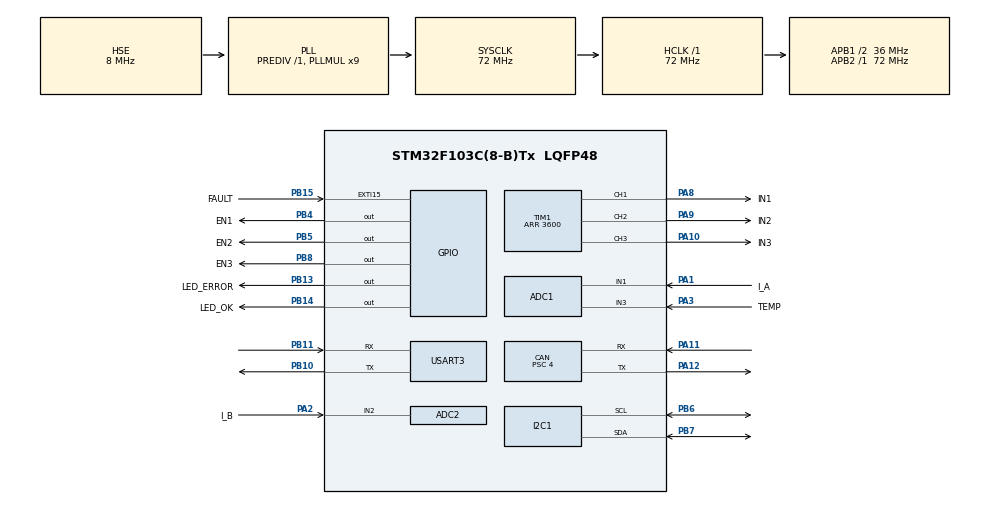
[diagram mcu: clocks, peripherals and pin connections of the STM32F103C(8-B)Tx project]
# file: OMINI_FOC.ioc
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ADC1.Channel-1\#ChannelInjectedConversion=ADC_CHANNEL_1
ADC1.Channel-3\#ChannelRegularConversion=ADC_CHANNEL_1
ADC1.ContinuousConvMode=ENABLE
ADC1.EnableInjectedConversion=ENABLE
ADC1.EnableRegularConversion=ENABLE
ADC1.ExternalTrigInjecConv=ADC_EXTERNALTRIGINJECCONV_T1_TRGO
ADC1.InjNumberOfConversion=1
ADC1.InjectedOffset-1\#ChannelInjectedConversion=0
ADC1.InjectedRank-1\#ChannelInjectedConversion=1
ADC1.Mode=ADC_DUALMODE_INJECSIMULT
ADC1.NbrOfConversionFlag=1
ADC1.Rank-3\#ChannelRegularConversion=1
ADC1.SamplingTime-1\#ChannelInjectedConversion=ADC_SAMPLETIME_55CYCLES_5
ADC1.SamplingTime-3\#ChannelRegularConversion=ADC_SAMPLETIME_55CYCLES_5
ADC1.master=1
ADC2.Channel-1\#ChannelInjectedConversion=ADC_CHANNEL_2
ADC2.Channel-2\#ChannelRegularConversion=ADC_CHANNEL_2
ADC2.ContinuousConvMode=ENABLE
ADC2.EnableInjectedConversion=ENABLE
ADC2.EnableRegularConversion=ENABLE
ADC2.InjNumberOfConversion=1
ADC2.InjectedOffset-1\#ChannelInjectedConversion=0
ADC2.InjectedRank-1\#ChannelInjectedConversion=1
ADC2.Mode=ADC_DUALMODE_INJECSIMULT
ADC2.NbrOfConversionFlag=1
ADC2.Rank-2\#ChannelRegularConversion=1
ADC2.SamplingTime-1\#ChannelInjectedConversion=ADC_SAMPLETIME_55CYCLES_5
ADC2.SamplingTime-2\#ChannelRegularConversion=ADC_SAMPLETIME_55CYCLES_5
CAN.BS1=CAN_BS1_4TQ
CAN.BS2=CAN_BS2_4TQ
CAN.CalculateBaudRate=1000000
CAN.CalculateTimeBit=1000
CAN.CalculateTimeQuantum=111.11111111111111
CAN.Prescaler=4
CAN.SJW=CAN_SJW_1TQ
I2C1.I2C_Mode=I2C_Fast
Mcu.Family=STM32F1
Mcu.Name=STM32F103C(8-B)Tx
Mcu.Package=LQFP48
Mcu.UserConstants=speed_calc_freq,motor_speed_calc_freq
NVIC.ADC1_2_IRQn=true\:0\:0\:true\:false\:true\:true\:true\:true
NVIC.EXTI15_10_IRQn=true\:1\:0\:true\:false\:true\:true\:true\:true
NVIC.I2C1_ER_IRQn=true\:2\:0\:true\:false\:true\:true\:true\:true
NVIC.I2C1_EV_IRQn=true\:2\:0\:true\:false\:true\:true\:true\:true
NVIC.PriorityGroup=NVIC_PRIORITYGROUP_4
NVIC.TIM3_IRQn=true\:1\:0\:true\:false\:true\:true\:true\:true
NVIC.USART3_IRQn=true\:3\:0\:true\:false\:true\:true\:true\:true
NVIC.USB_LP_CAN1_RX0_IRQn=true\:3\:0\:true\:false\:true\:true\:true\:true
PA1.GPIO_Label=I_A
PA1.Signal=ADCx_IN1
PA10.GPIO_Label=IN3
PA10.Signal=S_TIM1_CH3
PA11.Mode=CAN_Activate
PA11.Signal=CAN_RX
PA12.Mode=CAN_Activate
PA12.Signal=CAN_TX
PA13.Mode=Serial_Wire
PA13.Signal=SYS_JTMS-SWDIO
PA14.Mode=Serial_Wire
PA14.Signal=SYS_JTCK-SWCLK
PA2.GPIO_Label=I_B
PA2.Signal=ADCx_IN2
PA3.GPIO_Label=TEMP
PA3.Signal=ADCx_IN3
PA8.GPIO_Label=IN1
PA8.Signal=S_TIM1_CH1
PA9.GPIO_Label=IN2
PA9.Signal=S_TIM1_CH2
PB10.Mode=Asynchronous
PB10.Signal=USART3_TX
PB11.Mode=Asynchronous
PB11.Signal=USART3_RX
PB13.GPIO_Label=LED_ERROR
PB13.PinState=GPIO_PIN_SET
PB13.Signal=GPIO_Output
PB14.GPIO_Label=LED_OK
PB14.PinState=GPIO_PIN_SET
PB14.Signal=GPIO_Output
PB15.GPIO_Label=FAULT
PB15.GPIO_ModeDefaultEXTI=GPIO_MODE_IT_FALLING
PB15.Signal=GPXTI15
PB4.GPIO_Label=EN1
PB4.Signal=GPIO_Output
PB5.GPIO_Label=EN2
PB5.Signal=GPIO_Output
PB6.Mode=I2C
PB6.Signal=I2C1_SCL
PB7.Mode=I2C
PB7.Signal=I2C1_SDA
PB8.GPIO_Label=EN3
PB8.Signal=GPIO_Output
PD0-OSC_IN.Mode=HSE-External-Oscillator
PD0-OSC_IN.Signal=RCC_OSC_IN
PD1-OSC_OUT.Mode=HSE-External-Oscillator
PD1-OSC_OUT.Signal=RCC_OSC_OUT
ProjectManager.HeapSize=0x200
ProjectManager.StackSize=0x400
ProjectManager.TargetToolchain=CMake
RCC.ADCPresc=RCC_ADCPCLK2_DIV6
RCC.AHBFreq_Value=72000000
RCC.APB1CLKDivider=RCC_HCLK_DIV2
RCC.APB1Freq_Value=36000000
RCC.APB1TimFreq_Value=72000000
RCC.APB2Freq_Value=72000000
RCC.APB2TimFreq_Value=72000000
RCC.HCLKFreq_Value=72000000
RCC.PLLMUL=RCC_PLL_MUL9
RCC.PLLSourceVirtual=RCC_PLLSOURCE_HSE
RCC.SYSCLKFreq_VALUE=72000000
RCC.SYSCLKSource=RCC_SYSCLKSOURCE_PLLCLK
RCC.USBFreq_Value=72000000
SH.ADCx_IN1.0=ADC1_IN1,IN1
SH.ADCx_IN2.0=ADC2_IN2,IN2
SH.ADCx_IN3.0=ADC1_IN3,IN3
SH.S_TIM1_CH1.0=TIM1_CH1,PWM Generation1 CH1
SH.S_TIM1_CH2.0=TIM1_CH2,PWM Generation2 CH2
SH.S_TIM1_CH3.0=TIM1_CH3,PWM Generation3 CH3
STMicroelectronics.X-CUBE-ALGOBUILD.1.4.0.LibraryCcDSPOoLibraryJjDSPOoLibrary=true
TIM1.AutoReloadPreload=TIM_AUTORELOAD_PRELOAD_ENABLE
TIM1.BreakPolarity=TIM_BREAKPOLARITY_LOW
TIM1.Channel-PWM\ Generation1\ CH1=TIM_CHANNEL_1
TIM1.Channel-PWM\ Generation2\ CH2=TIM_CHANNEL_2
TIM1.Channel-PWM\ Generation3\ CH3=TIM_CHANNEL_3
TIM1.CounterMode=TIM_COUNTERMODE_CENTERALIGNED3
TIM1.Period=3600
TIM1.RepetitionCounter=4
TIM1.TIM_MasterOutputTrigger=TIM_TRGO_UPDATE
TIM3.Period=1000000/speed_calc_freq
TIM3.Prescaler=72-1
USART3.VirtualMode=VM_ASYNC
VP_STMicroelectronics.X-CUBE-ALGOBUILD_VS_DSPOoLibraryJjLibrary_1.4.0_1.4.0.Mode=DSPOoLibraryJjLibrary
VP_TIM1_VS_ClockSourceINT.Mode=Internal
VP_TIM3_VS_ClockSourceINT.Mode=Internal
board=custom

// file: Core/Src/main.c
/* USER CODE BEGIN Header */
/**
  ******************************************************************************
  * @file           : main.c
  * @brief          : Main program body
  ******************************************************************************
  * @attention
  *
  * Copyright (c) 2026 STMicroelectronics.
  * All rights reserved.
  *
  * This software is licensed under terms that can be found in the LICENSE file
  * in the root directory of this software component.
  * If no LICENSE file comes with this software, it is provided AS-IS.
  *
  ******************************************************************************
  */
/* USER CODE END Header */
#include "main.h"

/* USER CODE BEGIN Includes */
#include <stdio.h>
#include <string.h>
#include "User_AS5600.h"
#include "User_ADC.h"
#include "User_Usart.h"
#include "User_FOC.h"
#include "User_CAN.h"
#include "User_System.h"
#include "motor_runtime_param.h"
#include "foc.h"
#include "global_def.h"
/* USER CODE END Includes */

ADC_HandleTypeDef hadc1;
ADC_HandleTypeDef hadc2;

CAN_HandleTypeDef hcan;

I2C_HandleTypeDef hi2c1;

TIM_HandleTypeDef htim1;
TIM_HandleTypeDef htim3;

UART_HandleTypeDef huart3;

/* USER CODE BEGIN PV */

extern arm_pid_instance_f32     pid_position;
extern arm_pid_instance_f32     pid_speed;
extern motor_control_context_t  motor_control_context;

/* 夹爪参数 */
int8_t   gripper_dir       = 1;        /* +1=顺时针闭合, -1=逆时针闭合      */
uint16_t gripper_zero_raw  = 0;        /* 闭合时的编码器原始值               */
float    gripper_zero_logic = 0.0f;    /* 闭合时的多圈逻辑角度 (rad)         */
float    pos_target_rad    = 0.0f;      /* 目标位置 (rad), CAN/串口统一      */
float    torque_target     = 0.0f;      /* 目标力矩 (CAN 写入, 主循环接管)     */
uint8_t  gripper_recal     = 0;        /* 重校准请求标志                     */
uint8_t  foc_mode_pending  = 0;        /* 0=none, 1=torque, 2=position       */
extern float motor_logic_angle;        /* 多圈累积角度 (motor_runtime)       */

/* 串口接收 (状态机: P50 → 50度) */
static uint8_t  rx_byte;
static uint8_t  cmd_state  = 0;
static int      cmd_deg    = 0;
static uint8_t  cmd_ok     = 0;
static uint8_t  cmd_active = 0;

/* USER CODE END PV */

void SystemClock_Config(void);
static void MX_GPIO_Init(void);
static void MX_I2C1_Init(void);
static void MX_CAN_Init(void);
static void MX_USART3_UART_Init(void);
static void MX_ADC1_Init(void);
static void MX_ADC2_Init(void);
static void MX_TIM1_Init(void);
static void MX_TIM3_Init(void);

/* USER CODE BEGIN 0 */

static void Startup_EnterFault(fault_code_t fault, const char *message)
{
  FOC_EmergencyStop();
  SystemStatus_SetFault(fault);
  if (message != NULL) {
    USART_SendString(&huart3, message);
  }

  while (1) {
    SystemStatus_Task();
    HAL_Delay(10);
  }
}

static void Startup_DelayWithFaultCheck(uint32_t duration_ms)
{
  uint32_t start = HAL_GetTick();

  while ((HAL_GetTick() - start) < duration_ms) {
    if (SystemStatus_IsFaultActive()) {
      Startup_EnterFault(SystemStatus_GetFault(), NULL);
    }
    SystemStatus_Task();
    HAL_Delay(10);
  }
}

/* USER CODE END 0 */

int main(void)
{

  /* MCU Configuration--------------------------------------------------------*/

  /* Reset of all peripherals, Initializes the Flash interface and the Systick. */
  HAL_Init();

  /* Configure the system clock */
  SystemClock_Config();

  /* Initialize all configured peripherals */
  MX_GPIO_Init();
  MX_I2C1_Init();
  MX_CAN_Init();
  MX_USART3_UART_Init();
  MX_ADC1_Init();
  MX_ADC2_Init();
  MX_TIM1_Init();
  MX_TIM3_Init();
  /* USER CODE BEGIN 2 */

  SystemStatus_Init();
  SystemStatus_SetState(SYS_STATE_INIT);

  /* 初始化 AS5600 */
  SystemStatus_SetState(SYS_STATE_SENSOR_CHECK);
  if (AS5600_Init(&hi2c1) != 0) {
    Startup_EnterFault(FAULT_AS5600_INIT, "AS5600 Init Failed!\r\n");
  }
  {
    uint8_t magnet_detected = 0u;
    if (AS5600_IsMagnetDetected(&magnet_detected) != 0 ||
        magnet_detected == 0u) {
      Startup_EnterFault(FAULT_AS5600_INIT, "AS5600 magnet failed!\r\n");
    }
  }
  USART_SendString(&huart3, "AS5600 Init OK\r\n");

  /* ─── CAN 初始化 ─── */
  CAN_Init(&hcan);
  USART_SendString(&huart3, "CAN Init OK\r\n");

  /* ─── FOC 初始化 ─── */
  SystemStatus_SetState(SYS_STATE_INIT);
  FOC_Init(&htim1);
  USART_SendString(&huart3, "PWM started\r\n");

  /* ─── PID 参数设置 (教程值) ─── */
  set_motor_pid(
    1.0f, 0.0f, 10.0f,       // 位置: Kp=3.5, Kd=10
    0.05f, 0.001f, 0.0f,     // 速度: Kp=0.10, Ki=0.005
    1.2f, 0.02f, 0.0f,       // Id 电流: Kp=1.2, Ki=0.02
    1.2f, 0.02f, 0.0f);      // Iq 电流: Kp=1.2, Ki=0.02
  USART_SendString(&huart3, "PID set\r\n");

  /* ─── 启动编码器读取 (替代教程 SPI DMA) ─── */
  FOC_UpdateAngle();
  HAL_Delay(10);
  USART_SendString(&huart3, "Encoder OK\r\n");

  /* ─── 启动 PWM + 速度计算定时器 ─── */

  /* ─── ADC 校准 + 启动注入转换 ─── */
  SystemStatus_SetState(SYS_STATE_ADC_CALIB);
  FOC_EmergencyStop();
  if (HAL_ADCEx_Calibration_Start(&hadc1) != HAL_OK ||
      HAL_ADCEx_Calibration_Start(&hadc2) != HAL_OK ||
      ADC_Init(&hadc1, &hadc2) != 0) {
    Startup_EnterFault(FAULT_ADC_CALIB, "ADC hardware calib failed!\r\n");
  }
  if (ADC_Calibrate() != 0) {
    Startup_EnterFault(FAULT_ADC_CALIB, "ADC offset calib failed!\r\n");
  }
  USART_Printf(&huart3, "ADC zero: ia=%u ib=%u\r\n",
               adc_zero_ia, adc_zero_ib);

  FOC_UpdateAngle();
  HAL_TIM_Base_Start_IT(&htim3);
  USART_SendString(&huart3, "TIM3 started\r\n");

  uint32_t adc_loop_start = foc_adc_loop_count;
  if (HAL_ADCEx_InjectedStart_IT(&hadc2) != HAL_OK ||
      HAL_ADCEx_InjectedStart_IT(&hadc1) != HAL_OK) {
    Startup_EnterFault(FAULT_ADC_CALIB, "ADC IT start failed!\r\n");
  }
  HAL_Delay(20);
  if (foc_adc_loop_count == adc_loop_start) {
    Startup_EnterFault(FAULT_ADC_CALIB, "ADC IT no trigger!\r\n");
  }
  USART_SendString(&huart3, "ADC IT started\r\n");

  /* ─── 转子零位校准 ─── */
  SystemStatus_SetState(SYS_STATE_ALIGN);
  if (FOC_AlignRotor() != 0) {
    Startup_EnterFault(FAULT_ALIGN, "Align failed!\r\n");
  }
  USART_Printf(&huart3, "Align OK: zero=%ddeg\r\n",
               (int)rad2deg(rotor_zero_angle));

  /* ─── 默认速度/电流限幅 ─── */
  motor_control_context.max_speed       = 22.0f;
  motor_control_context.max_torque_norm = 0.22f;

  /* ─── 完全释放转子 ─── */
  motor_control_context.type = control_type_torque;
  motor_control_context.torque_norm_q = 0.08f * (float)gripper_dir;
  set_pwm_duty(0.0f, 0.0f, 0.0f);
  FOC_Enable();

  /* ─── 夹爪闭合校准: 力矩推到底 → 释放 → 再记零点 ─── */
  SystemStatus_SetState(SYS_STATE_HOME);
  USART_SendString(&huart3, "Gripper calib: closing 2s...\r\n");
  Startup_DelayWithFaultCheck(3000);                  /* 慢推 2 秒 */

  motor_control_context.torque_norm_q = 0.0f;          /* 先释放 */
  USART_SendString(&huart3, "Release, waiting...\r\n");
  Startup_DelayWithFaultCheck(500);                   /* 等惯性停住 */

  /* 记录夹爪零位 */
  gripper_zero_raw   = foc_cached_raw;
  gripper_zero_logic = motor_logic_angle;
  pos_target_rad     = 0.0f;
  USART_Printf(&huart3, "Gripper zero: raw=%u logic=%drad\r\n",
               gripper_zero_raw, (int)gripper_zero_logic);

  /* ─── 切换到位置模式, 初始目标 = 零点 ─── */
  motor_control_context.position = gripper_zero_logic;
  motor_control_context.type = control_type_position;
  USART_SendString(&huart3, "Position mode ON\r\n");
  SystemStatus_SetState(SYS_STATE_RUN);

  HAL_UART_Receive_IT(&huart3, &rx_byte, 1);

  /* USER CODE END 2 */

  /* Infinite loop */
  while (1)
  {

    /* USER CODE BEGIN 3 */

    SystemStatus_Task();

    /* ─── 重校准请求 ─── */
    if (gripper_recal) {
      gripper_recal = 0;
      motor_control_context.type = control_type_torque;
  motor_control_context.torque_norm_q = 0.08f * (float)gripper_dir;
      while (1) {
        FOC_UpdateAngle();
        HAL_Delay(10);
        if (fabsf(motor_speed) < 1.0f && fabsf(motor_i_q) > 0.15f) {
          static uint32_t st = 0;
          if (st == 0) st = HAL_GetTick();
          if (HAL_GetTick() - st > 1000) { st = 0; break; }
        }
      }
      gripper_zero_raw   = foc_cached_raw;
      gripper_zero_logic = motor_logic_angle;
      pos_target_rad     = 0.0f;
      motor_control_context.torque_norm_q = 0.0f;
      motor_control_context.position = gripper_zero_logic;
      motor_control_context.type = control_type_position;
    }

    /* ─── CAN 模式切换 (消除竞态: 主循环统一写) ─── */
    FOC_UpdateAngle();

    if (foc_mode_pending == 1) {
        motor_control_context.type = control_type_torque;
        motor_control_context.torque_norm_q = torque_target;
        foc_mode_pending = 0;
    } else if (foc_mode_pending == 2) {
        motor_control_context.type = control_type_position_speed_torque;
        motor_control_context.position = gripper_zero_logic + pos_target_rad;
        foc_mode_pending = 0;
    }

    /* ─── 位置目标映射 ─── */

    motor_control_context.position = gripper_zero_logic + pos_target_rad;

    /* ─── 死区清积分: 误差 < 0.02rad 时清零速度环积分 ─── */
    if (fabsf(motor_control_context.position - motor_logic_angle) < 0.02f) {
      pid_speed.state[2] = 0.0f;
    }

    /* 串口 OK 回显 */
    if (cmd_ok) {
      cmd_ok = 0;
      USART_Printf(&huart3, "OK %d\r\n", cmd_deg);
    }

    /* CAN 状态反馈 (每 100ms), 用多圈角度 */
    {
      float pos = motor_logic_angle - gripper_zero_logic;
      CAN_SendStatus(pos, motor_speed, motor_i_d, motor_i_q);
    }

    HAL_Delay(100);
  }
  /* USER CODE END 3 */
}

void SystemClock_Config(void)
{
  RCC_OscInitTypeDef RCC_OscInitStruct = {0};
  RCC_ClkInitTypeDef RCC_ClkInitStruct = {0};
  RCC_PeriphCLKInitTypeDef PeriphClkInit = {0};

  /** Initializes the RCC Oscillators according to the specified parameters
  * in the RCC_OscInitTypeDef structure.
  */
  RCC_OscInitStruct.OscillatorType = RCC_OSCILLATORTYPE_HSE;
  RCC_OscInitStruct.HSEState = RCC_HSE_ON;
  RCC_OscInitStruct.HSEPredivValue = RCC_HSE_PREDIV_DIV1;
  RCC_OscInitStruct.HSIState = RCC_HSI_ON;
  RCC_OscInitStruct.PLL.PLLState = RCC_PLL_ON;
  RCC_OscInitStruct.PLL.PLLSource = RCC_PLLSOURCE_HSE;
  RCC_OscInitStruct.PLL.PLLMUL = RCC_PLL_MUL9;
  if (HAL_RCC_OscConfig(&RCC_OscInitStruct) != HAL_OK)
  {
    Error_Handler();
  }

  /** Initializes the CPU, AHB and APB buses clocks
  */
  RCC_ClkInitStruct.ClockType = RCC_CLOCKTYPE_HCLK|RCC_CLOCKTYPE_SYSCLK
                              |RCC_CLOCKTYPE_PCLK1|RCC_CLOCKTYPE_PCLK2;
  RCC_ClkInitStruct.SYSCLKSource = RCC_SYSCLKSOURCE_PLLCLK;
  RCC_ClkInitStruct.AHBCLKDivider = RCC_SYSCLK_DIV1;
  RCC_ClkInitStruct.APB1CLKDivider = RCC_HCLK_DIV2;
  RCC_ClkInitStruct.APB2CLKDivider = RCC_HCLK_DIV1;

  if (HAL_RCC_ClockConfig(&RCC_ClkInitStruct, FLASH_LATENCY_2) != HAL_OK)
  {
    Error_Handler();
  }
  PeriphClkInit.PeriphClockSelection = RCC_PERIPHCLK_ADC;
  PeriphClkInit.AdcClockSelection = RCC_ADCPCLK2_DIV6;
  if (HAL_RCCEx_PeriphCLKConfig(&PeriphClkInit) != HAL_OK)
  {
    Error_Handler();
  }
}

static void MX_ADC1_Init(void)
{

  ADC_MultiModeTypeDef multimode = {0};
  ADC_InjectionConfTypeDef sConfigInjected = {0};
  ADC_ChannelConfTypeDef sConfig = {0};

  /** Common config
  */
  hadc1.Instance = ADC1;
  hadc1.Init.ScanConvMode = ADC_SCAN_DISABLE;
  hadc1.Init.ContinuousConvMode = ENABLE;
  hadc1.Init.DiscontinuousConvMode = DISABLE;
  hadc1.Init.ExternalTrigConv = ADC_SOFTWARE_START;
  hadc1.Init.DataAlign = ADC_DATAALIGN_RIGHT;
  hadc1.Init.NbrOfConversion = 1;
  if (HAL_ADC_Init(&hadc1) != HAL_OK)
  {
    Error_Handler();
  }

  /** Configure the ADC multi-mode
  */
  multimode.Mode = ADC_DUALMODE_INJECSIMULT;
  if (HAL_ADCEx_MultiModeConfigChannel(&hadc1, &multimode) != HAL_OK)
  {
    Error_Handler();
  }

  /** Configure Injected Channel
  */
  sConfigInjected.InjectedChannel = ADC_CHANNEL_1;
  sConfigInjected.InjectedRank = ADC_INJECTED_RANK_1;
  sConfigInjected.InjectedNbrOfConversion = 1;
  sConfigInjected.InjectedSamplingTime = ADC_SAMPLETIME_55CYCLES_5;
  sConfigInjected.ExternalTrigInjecConv = ADC_EXTERNALTRIGINJECCONV_T1_TRGO;
  sConfigInjected.AutoInjectedConv = DISABLE;
  sConfigInjected.InjectedDiscontinuousConvMode = DISABLE;
  sConfigInjected.InjectedOffset = 0;
  if (HAL_ADCEx_InjectedConfigChannel(&hadc1, &sConfigInjected) != HAL_OK)
  {
    Error_Handler();
  }

  /** Configure Regular Channel
  */
  sConfig.Channel = ADC_CHANNEL_1;
  sConfig.Rank = ADC_REGULAR_RANK_1;
  sConfig.SamplingTime = ADC_SAMPLETIME_55CYCLES_5;
  if (HAL_ADC_ConfigChannel(&hadc1, &sConfig) != HAL_OK)
  {
    Error_Handler();
  }

}

static void MX_ADC2_Init(void)
{

  ADC_InjectionConfTypeDef sConfigInjected = {0};
  ADC_ChannelConfTypeDef sConfig = {0};

  /** Common config
  */
  hadc2.Instance = ADC2;
  hadc2.Init.ScanConvMode = ADC_SCAN_DISABLE;
  hadc2.Init.ContinuousConvMode = ENABLE;
  hadc2.Init.DiscontinuousConvMode = DISABLE;
  hadc2.Init.ExternalTrigConv = ADC_SOFTWARE_START;
  hadc2.Init.DataAlign = ADC_DATAALIGN_RIGHT;
  hadc2.Init.NbrOfConversion = 1;
  if (HAL_ADC_Init(&hadc2) != HAL_OK)
  {
    Error_Handler();
  }

  /** Configure Injected Channel
  */
  sConfigInjected.InjectedChannel = ADC_CHANNEL_2;
  sConfigInjected.InjectedRank = ADC_INJECTED_RANK_1;
  sConfigInjected.InjectedNbrOfConversion = 1;
  sConfigInjected.InjectedSamplingTime = ADC_SAMPLETIME_55CYCLES_5;
  sConfigInjected.AutoInjectedConv = DISABLE;
  sConfigInjected.InjectedDiscontinuousConvMode = DISABLE;
  sConfigInjected.InjectedOffset = 0;
  if (HAL_ADCEx_InjectedConfigChannel(&hadc2, &sConfigInjected) != HAL_OK)
  {
    Error_Handler();
  }

  /** Configure Regular Channel
  */
  sConfig.Channel = ADC_CHANNEL_2;
  sConfig.Rank = ADC_REGULAR_RANK_1;
  sConfig.SamplingTime = ADC_SAMPLETIME_55CYCLES_5;
  if (HAL_ADC_ConfigChannel(&hadc2, &sConfig) != HAL_OK)
  {
    Error_Handler();
  }

}

static void MX_CAN_Init(void)
{

  hcan.Instance = CAN1;
  hcan.Init.Prescaler = 4;
  hcan.Init.Mode = CAN_MODE_NORMAL;
  hcan.Init.SyncJumpWidth = CAN_SJW_1TQ;
  hcan.Init.TimeSeg1 = CAN_BS1_4TQ;
  hcan.Init.TimeSeg2 = CAN_BS2_4TQ;
  hcan.Init.TimeTriggeredMode = DISABLE;
  hcan.Init.AutoBusOff = DISABLE;
  hcan.Init.AutoWakeUp = DISABLE;
  hcan.Init.AutoRetransmission = DISABLE;
  hcan.Init.ReceiveFifoLocked = DISABLE;
  hcan.Init.TransmitFifoPriority = DISABLE;
  if (HAL_CAN_Init(&hcan) != HAL_OK)
  {
    Error_Handler();
  }

}

static void MX_I2C1_Init(void)
{

  hi2c1.Instance = I2C1;
  hi2c1.Init.ClockSpeed = 100000;
  hi2c1.Init.DutyCycle = I2C_DUTYCYCLE_2;
  hi2c1.Init.OwnAddress1 = 0;
  hi2c1.Init.AddressingMode = I2C_ADDRESSINGMODE_7BIT;
  hi2c1.Init.DualAddressMode = I2C_DUALADDRESS_DISABLE;
  hi2c1.Init.OwnAddress2 = 0;
  hi2c1.Init.GeneralCallMode = I2C_GENERALCALL_DISABLE;
  hi2c1.Init.NoStretchMode = I2C_NOSTRETCH_DISABLE;
  if (HAL_I2C_Init(&hi2c1) != HAL_OK)
  {
    Error_Handler();
  }

}

static void MX_TIM1_Init(void)
{

  TIM_ClockConfigTypeDef sClockSourceConfig = {0};
  TIM_MasterConfigTypeDef sMasterConfig = {0};
  TIM_OC_InitTypeDef sConfigOC = {0};
  TIM_BreakDeadTimeConfigTypeDef sBreakDeadTimeConfig = {0};

  htim1.Instance = TIM1;
  htim1.Init.Prescaler = 0;
  htim1.Init.CounterMode = TIM_COUNTERMODE_CENTERALIGNED3;
  htim1.Init.Period = 3600;
  htim1.Init.ClockDivision = TIM_CLOCKDIVISION_DIV1;
  htim1.Init.RepetitionCounter = 4;
  htim1.Init.AutoReloadPreload = TIM_AUTORELOAD_PRELOAD_ENABLE;
  if (HAL_TIM_Base_Init(&htim1) != HAL_OK)
  {
    Error_Handler();
  }
  sClockSourceConfig.ClockSource = TIM_CLOCKSOURCE_INTERNAL;
  if (HAL_TIM_ConfigClockSource(&htim1, &sClockSourceConfig) != HAL_OK)
  {
    Error_Handler();
  }
  if (HAL_TIM_PWM_Init(&htim1) != HAL_OK)
  {
    Error_Handler();
  }
  sMasterConfig.MasterOutputTrigger = TIM_TRGO_UPDATE;
  sMasterConfig.MasterSlaveMode = TIM_MASTERSLAVEMODE_DISABLE;
  if (HAL_TIMEx_MasterConfigSynchronization(&htim1, &sMasterConfig) != HAL_OK)
  {
    Error_Handler();
  }
  sConfigOC.OCMode = TIM_OCMODE_PWM1;
  sConfigOC.Pulse = 0;
  sConfigOC.OCPolarity = TIM_OCPOLARITY_HIGH;
  sConfigOC.OCNPolarity = TIM_OCNPOLARITY_HIGH;
  sConfigOC.OCFastMode = TIM_OCFAST_DISABLE;
  sConfigOC.OCIdleState = TIM_OCIDLESTATE_RESET;
  sConfigOC.OCNIdleState = TIM_OCNIDLESTATE_RESET;
  if (HAL_TIM_PWM_ConfigChannel(&htim1, &sConfigOC, TIM_CHANNEL_1) != HAL_OK)
  {
    Error_Handler();
  }
  if (HAL_TIM_PWM_ConfigChannel(&htim1, &sConfigOC, TIM_CHANNEL_2) != HAL_OK)
  {
    Error_Handler();
  }
  if (HAL_TIM_PWM_ConfigChannel(&htim1, &sConfigOC, TIM_CHANNEL_3) != HAL_OK)
  {
    Error_Handler();
  }
  sBreakDeadTimeConfig.OffStateRunMode = TIM_OSSR_DISABLE;
  sBreakDeadTimeConfig.OffStateIDLEMode = TIM_OSSI_DISABLE;
  sBreakDeadTimeConfig.LockLevel = TIM_LOCKLEVEL_OFF;
  sBreakDeadTimeConfig.DeadTime = 0;
  sBreakDeadTimeConfig.BreakState = TIM_BREAK_DISABLE;
  sBreakDeadTimeConfig.BreakPolarity = TIM_BREAKPOLARITY_LOW;
  sBreakDeadTimeConfig.AutomaticOutput = TIM_AUTOMATICOUTPUT_DISABLE;
  if (HAL_TIMEx_ConfigBreakDeadTime(&htim1, &sBreakDeadTimeConfig) != HAL_OK)
  {
    Error_Handler();
  }
  HAL_TIM_MspPostInit(&htim1);

}

static void MX_TIM3_Init(void)
{

  TIM_ClockConfigTypeDef sClockSourceConfig = {0};
  TIM_MasterConfigTypeDef sMasterConfig = {0};

  htim3.Instance = TIM3;
  htim3.Init.Prescaler = 72-1;
  htim3.Init.CounterMode = TIM_COUNTERMODE_UP;
  htim3.Init.Period = 1000000/speed_calc_freq;
  htim3.Init.ClockDivision = TIM_CLOCKDIVISION_DIV1;
  htim3.Init.AutoReloadPreload = TIM_AUTORELOAD_PRELOAD_DISABLE;
  if (HAL_TIM_Base_Init(&htim3) != HAL_OK)
  {
    Error_Handler();
  }
  sClockSourceConfig.ClockSource = TIM_CLOCKSOURCE_INTERNAL;
  if (HAL_TIM_ConfigClockSource(&htim3, &sClockSourceConfig) != HAL_OK)
  {
    Error_Handler();
  }
  sMasterConfig.MasterOutputTrigger = TIM_TRGO_RESET;
  sMasterConfig.MasterSlaveMode = TIM_MASTERSLAVEMODE_DISABLE;
  if (HAL_TIMEx_MasterConfigSynchronization(&htim3, &sMasterConfig) != HAL_OK)
  {
    Error_Handler();
  }

}

static void MX_USART3_UART_Init(void)
{

  huart3.Instance = USART3;
  huart3.Init.BaudRate = 115200;
  huart3.Init.WordLength = UART_WORDLENGTH_8B;
  huart3.Init.StopBits = UART_STOPBITS_1;
  huart3.Init.Parity = UART_PARITY_NONE;
  huart3.Init.Mode = UART_MODE_TX_RX;
  huart3.Init.HwFlowCtl = UART_HWCONTROL_NONE;
  huart3.Init.OverSampling = UART_OVERSAMPLING_16;
  if (HAL_UART_Init(&huart3) != HAL_OK)
  {
    Error_Handler();
  }

}

static void MX_GPIO_Init(void)
{
  GPIO_InitTypeDef GPIO_InitStruct = {0};

  /* GPIO Ports Clock Enable */
  __HAL_RCC_GPIOD_CLK_ENABLE();
  __HAL_RCC_GPIOA_CLK_ENABLE();
  __HAL_RCC_GPIOB_CLK_ENABLE();

  /*Configure GPIO pin Output Level */
  HAL_GPIO_WritePin(GPIOB, LED_ERROR_Pin|LED_OK_Pin, GPIO_PIN_SET);

  /*Configure GPIO pin Output Level */
  HAL_GPIO_WritePin(GPIOB, EN1_Pin|EN2_Pin|EN3_Pin, GPIO_PIN_RESET);

  /*Configure GPIO pins : LED_ERROR_Pin LED_OK_Pin EN1_Pin EN2_Pin
                           EN3_Pin */
  GPIO_InitStruct.Pin = LED_ERROR_Pin|LED_OK_Pin|EN1_Pin|EN2_Pin
                          |EN3_Pin;
  GPIO_InitStruct.Mode = GPIO_MODE_OUTPUT_PP;
  GPIO_InitStruct.Pull = GPIO_NOPULL;
  GPIO_InitStruct.Speed = GPIO_SPEED_FREQ_LOW;
  HAL_GPIO_Init(GPIOB, &GPIO_InitStruct);

  /*Configure GPIO pin : FAULT_Pin */
  GPIO_InitStruct.Pin = FAULT_Pin;
  GPIO_InitStruct.Mode = GPIO_MODE_IT_FALLING;
  GPIO_InitStruct.Pull = GPIO_NOPULL;
  HAL_GPIO_Init(FAULT_GPIO_Port, &GPIO_InitStruct);

  /* EXTI interrupt init*/
  HAL_NVIC_SetPriority(EXTI15_10_IRQn, 1, 0);
  HAL_NVIC_EnableIRQ(EXTI15_10_IRQn);

}

/* USER CODE BEGIN 4 */

void HAL_GPIO_EXTI_Callback(uint16_t GPIO_Pin)
{
  if (GPIO_Pin != FAULT_Pin) {
    return;
  }

  FOC_EmergencyStop();
  SystemStatus_SetFault(FAULT_DRIVER);
}

void HAL_UART_RxCpltCallback(UART_HandleTypeDef *huart)
{
  if (huart->Instance != USART3) return;
  uint8_t ch = rx_byte;

  if (ch == 'P' || ch == 'p') {
    cmd_state  = 1;
    cmd_deg    = 0;
    cmd_active = 0;
  } else if (cmd_state && ch >= '0' && ch <= '9') {
    cmd_deg    = cmd_deg * 10 + (ch - '0');
    cmd_active = 1;
  } else if (cmd_state && cmd_active) {
    pos_target_rad = (float)cmd_deg;
    cmd_ok    = 1;
    cmd_state = 0;
  }

  HAL_UART_Receive_IT(&huart3, &rx_byte, 1);
}

/* USER CODE END 4 */

void Error_Handler(void)
{
  __disable_irq();
  while (1)
  {
  }
}
